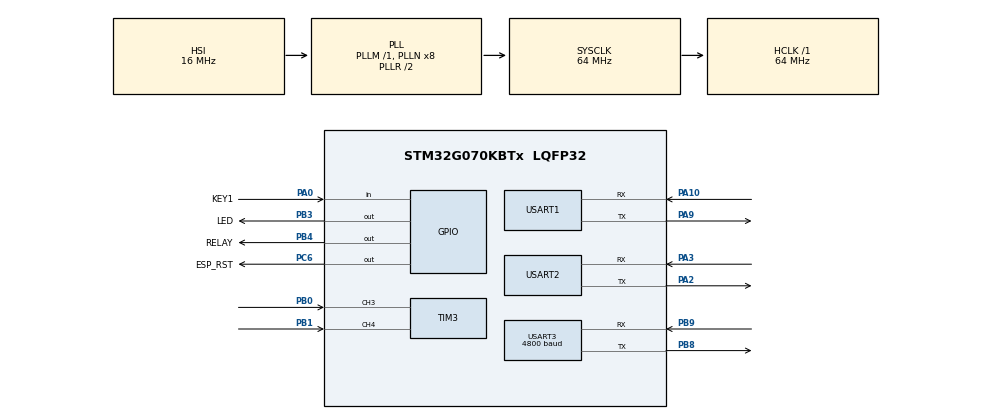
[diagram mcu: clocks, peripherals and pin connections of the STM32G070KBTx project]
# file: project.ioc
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Mcu.Family=STM32G0
Mcu.Name=STM32G070KBTx
Mcu.Package=LQFP32
NVIC.TIM7_IRQn=true\:0\:0\:false\:false\:true\:true\:true
NVIC.USART2_IRQn=true\:0\:0\:false\:false\:true\:true\:true
NVIC.USART3_4_IRQn=true\:0\:0\:false\:false\:true\:true\:true
PA0.GPIO_Label=KEY1
PA0.Signal=GPIO_Input
PA10.Mode=Asynchronous
PA10.Signal=USART1_RX
PA13.Mode=Serial_Wire
PA13.Signal=SYS_SWDIO
PA14-BOOT0.Mode=Serial_Wire
PA14-BOOT0.Signal=SYS_SWCLK
PA2.Mode=Asynchronous
PA2.Signal=USART2_TX
PA3.Mode=Asynchronous
PA3.Signal=USART2_RX
PA9.Mode=Asynchronous
PA9.Signal=USART1_TX
PB0.Signal=S_TIM3_CH3
PB1.Signal=S_TIM3_CH4
PB3.GPIO_Label=LED
PB3.Signal=GPIO_Output
PB4.GPIO_Label=RELAY
PB4.Signal=GPIO_Output
PB8.Mode=Asynchronous
PB8.Signal=USART3_TX
PB9.Mode=Asynchronous
PB9.Signal=USART3_RX
PC6.GPIO_Label=ESP_RST
PC6.Signal=GPIO_Output
ProjectManager.HeapSize=0x0
ProjectManager.StackSize=0x400
ProjectManager.TargetToolchain=MDK-ARM V5
RCC.ADCFreq_Value=64000000
RCC.AHBFreq_Value=64000000
RCC.CortexFreq_Value=64000000
RCC.EXTERNAL_CLOCK_VALUE=48000
RCC.HCLKFreq_Value=64000000
RCC.HSE_VALUE=8000000
RCC.HSI_VALUE=16000000
RCC.LSE_VALUE=32768
RCC.SYSCLKFreq_VALUE=64000000
RCC.SYSCLKSource=RCC_SYSCLKSOURCE_PLLCLK
RCC.VCOOutputFreq_Value=128000000
SH.S_TIM3_CH3.0=TIM3_CH3,Input_Capture3_from_TI3
SH.S_TIM3_CH4.0=TIM3_CH4,Input_Capture4_from_TI4
TIM3.Channel-Input_Capture3_from_TI3=TIM_CHANNEL_3
TIM3.Channel-Input_Capture4_from_TI4=TIM_CHANNEL_4
TIM7.AutoReloadPreload=TIM_AUTORELOAD_PRELOAD_ENABLE
TIM7.Period=2999
TIM7.Prescaler=63
USART1.VirtualMode-Asynchronous=VM_ASYNC
USART2.VirtualMode-Asynchronous=VM_ASYNC
USART3.BaudRate=4800
USART3.Parity=PARITY_EVEN
USART3.VirtualMode-Asynchronous=VM_ASYNC
VP_SYS_VS_DBSignals.Mode=DisableDeadBatterySignals
VP_TIM7_VS_ClockSourceINT.Mode=Enable_Timer
board=custom

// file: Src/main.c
/* USER CODE BEGIN Header */
/**
  ******************************************************************************
  * @file           : main.c
  * @brief          : Main program body
  ******************************************************************************
  * @attention
  *
  * <h2><center>&copy; Copyright (c) 2021 STMicroelectronics.
  * All rights reserved.</center></h2>
  *
  * This software component is licensed by ST under BSD 3-Clause license,
  * the "License"; You may not use this file except in compliance with the
  * License. You may obtain a copy of the License at:
  *                        opensource.org/licenses/BSD-3-Clause
  *
  ******************************************************************************
  */
/* USER CODE END Header */

#include "main.h"

/* USER CODE BEGIN Includes */
#include "stm32g0xx_ll_gpio.h"
#include "stm32g0xx_ll_usart.h"
#include "stm32g0xx_ll_tim.h"
#include "tos_k.h"
#include "user_task.h"
// #include "ws2812_driver.h"
// #include "user_utils.h"
// #include "hlw8032.h"
// #include "key.h"
/* USER CODE END Includes */

TIM_HandleTypeDef htim3;
TIM_HandleTypeDef htim7;

UART_HandleTypeDef huart1;
UART_HandleTypeDef huart2;
UART_HandleTypeDef huart3;

/* USER CODE BEGIN PV */
#define USER_TASK_STACK_SIZE 512
k_stack_t user_task_stack[USER_TASK_STACK_SIZE];
k_task_t user_task_t;
/* USER CODE END PV */

void SystemClock_Config(void);
static void MX_GPIO_Init(void);
static void MX_TIM3_Init(void);
static void MX_USART1_UART_Init(void);
static void MX_USART2_UART_Init(void);
static void MX_USART3_UART_Init(void);
static void MX_TIM7_Init(void);
/* USER CODE BEGIN PFP */
extern void data_template_sample(void);
/* USER CODE END PFP */

/* USER CODE BEGIN 0 */

// 重定向printf输出
int fputc(int ch, FILE *f)
{
	// stm32f1 系列
	// while((USART1->SR & 0x40) == 0);//等待上一次串口数据发送完成
	// USART1->DR = (unsigned char)ch;//写入要发送的数据
	// return ch;

	// stm32g0 系列
	while(LL_USART_IsActiveFlag_TXE_TXFNF(USART1) == 0); // 等待数据发送寄存器空
	LL_USART_TransmitData8(USART1, ch); // 写入要发送的数据
	// while(LL_USART_IsActiveFlag_TC(USART1) == 0); // 等待发送完成，严谨一点可以把这个加上
	return ch;
}

// int fputc(int ch, FILE *f)
// {
//   HAL_UART_Transmit(&huart1, (uint8_t *)&ch, 1, 10);
//   return ch;
// }

/* USER CODE END 0 */

int main(void)
{

  /* MCU Configuration--------------------------------------------------------*/

  /* Reset of all peripherals, Initializes the Flash interface and the Systick. */
  HAL_Init();

  /* Configure the system clock */
  SystemClock_Config();

  /* Initialize all configured peripherals */
  MX_GPIO_Init();
  MX_TIM3_Init();
  MX_USART1_UART_Init();
  MX_USART2_UART_Init();
  MX_USART3_UART_Init();
  MX_TIM7_Init();
  /* USER CODE BEGIN 2 */

	// 中断设置
	LL_USART_EnableIT_RXNE_RXFNE(USART2);
	HAL_NVIC_SetPriority(USART2_IRQn, 2, 0); // 只有主优先级，串口2优先级设置较低
	HAL_NVIC_EnableIRQ(USART2_IRQn);

	LL_USART_EnableIT_RXNE_RXFNE(USART3);
	HAL_NVIC_SetPriority(USART3_4_IRQn, 3, 0); // 只有主优先级，串口3优先级设置最低
	HAL_NVIC_EnableIRQ(USART3_4_IRQn);

	LL_TIM_EnableIT_UPDATE(TIM7); // 开启TIM7中断
	LL_TIM_EnableCounter(TIM7); // 启动定时器
	HAL_NVIC_SetPriority(TIM7_IRQn, 3, 0); // 只有主优先级，串口3优先级设置最低
	HAL_NVIC_EnableIRQ(TIM7_IRQn);
	// HAL_TIM_Base_Start_IT(&htim7);

	// 其他初始化
	// TODO

	// 初始化 Tencent OS Tiny，启动任务
	tos_knl_init();

	// 先起用户程序
	tos_task_create(&user_task_t,
					"user_task",
					(k_task_entry_t)user_task,
					NULL,
					3,
					user_task_stack,
					USER_TASK_STACK_SIZE,
					0);

	// 最后起数据模板
	data_template_sample();

	printf("tos start\r\n");
	tos_knl_start();

  /* USER CODE END 2 */

  /* Infinite loop */
  while (1)
  {

  }
}

void SystemClock_Config(void)
{
  RCC_OscInitTypeDef RCC_OscInitStruct = {0};
  RCC_ClkInitTypeDef RCC_ClkInitStruct = {0};
  RCC_PeriphCLKInitTypeDef PeriphClkInit = {0};

  /** Configure the main internal regulator output voltage
  */
  HAL_PWREx_ControlVoltageScaling(PWR_REGULATOR_VOLTAGE_SCALE1);
  /** Initializes the CPU, AHB and APB busses clocks
  */
  RCC_OscInitStruct.OscillatorType = RCC_OSCILLATORTYPE_HSI;
  RCC_OscInitStruct.HSIState = RCC_HSI_ON;
  RCC_OscInitStruct.HSIDiv = RCC_HSI_DIV1;
  RCC_OscInitStruct.HSICalibrationValue = RCC_HSICALIBRATION_DEFAULT;
  RCC_OscInitStruct.PLL.PLLState = RCC_PLL_ON;
  RCC_OscInitStruct.PLL.PLLSource = RCC_PLLSOURCE_HSI;
  RCC_OscInitStruct.PLL.PLLM = RCC_PLLM_DIV1;
  RCC_OscInitStruct.PLL.PLLN = 8;
  RCC_OscInitStruct.PLL.PLLP = RCC_PLLP_DIV2;
  RCC_OscInitStruct.PLL.PLLR = RCC_PLLR_DIV2;
  if (HAL_RCC_OscConfig(&RCC_OscInitStruct) != HAL_OK)
  {
    Error_Handler();
  }
  /** Initializes the CPU, AHB and APB busses clocks
  */
  RCC_ClkInitStruct.ClockType = RCC_CLOCKTYPE_HCLK|RCC_CLOCKTYPE_SYSCLK
                              |RCC_CLOCKTYPE_PCLK1;
  RCC_ClkInitStruct.SYSCLKSource = RCC_SYSCLKSOURCE_PLLCLK;
  RCC_ClkInitStruct.AHBCLKDivider = RCC_SYSCLK_DIV1;
  RCC_ClkInitStruct.APB1CLKDivider = RCC_HCLK_DIV1;

  if (HAL_RCC_ClockConfig(&RCC_ClkInitStruct, FLASH_LATENCY_2) != HAL_OK)
  {
    Error_Handler();
  }
  /** Initializes the peripherals clocks
  */
  PeriphClkInit.PeriphClockSelection = RCC_PERIPHCLK_USART1|RCC_PERIPHCLK_USART2;
  PeriphClkInit.Usart1ClockSelection = RCC_USART1CLKSOURCE_PCLK1;
  PeriphClkInit.Usart2ClockSelection = RCC_USART2CLKSOURCE_PCLK1;
  if (HAL_RCCEx_PeriphCLKConfig(&PeriphClkInit) != HAL_OK)
  {
    Error_Handler();
  }
}

static void MX_TIM3_Init(void)
{

  TIM_MasterConfigTypeDef sMasterConfig = {0};
  TIM_IC_InitTypeDef sConfigIC = {0};

  htim3.Instance = TIM3;
  htim3.Init.Prescaler = 0;
  htim3.Init.CounterMode = TIM_COUNTERMODE_UP;
  htim3.Init.Period = 0;
  htim3.Init.ClockDivision = TIM_CLOCKDIVISION_DIV1;
  htim3.Init.AutoReloadPreload = TIM_AUTORELOAD_PRELOAD_DISABLE;
  if (HAL_TIM_IC_Init(&htim3) != HAL_OK)
  {
    Error_Handler();
  }
  sMasterConfig.MasterOutputTrigger = TIM_TRGO_RESET;
  sMasterConfig.MasterSlaveMode = TIM_MASTERSLAVEMODE_DISABLE;
  if (HAL_TIMEx_MasterConfigSynchronization(&htim3, &sMasterConfig) != HAL_OK)
  {
    Error_Handler();
  }
  sConfigIC.ICPolarity = TIM_INPUTCHANNELPOLARITY_RISING;
  sConfigIC.ICSelection = TIM_ICSELECTION_DIRECTTI;
  sConfigIC.ICPrescaler = TIM_ICPSC_DIV1;
  sConfigIC.ICFilter = 0;
  if (HAL_TIM_IC_ConfigChannel(&htim3, &sConfigIC, TIM_CHANNEL_3) != HAL_OK)
  {
    Error_Handler();
  }
  if (HAL_TIM_IC_ConfigChannel(&htim3, &sConfigIC, TIM_CHANNEL_4) != HAL_OK)
  {
    Error_Handler();
  }

}

static void MX_TIM7_Init(void)
{

  TIM_MasterConfigTypeDef sMasterConfig = {0};

  htim7.Instance = TIM7;
  htim7.Init.Prescaler = 63;
  htim7.Init.CounterMode = TIM_COUNTERMODE_UP;
  htim7.Init.Period = 2999;
  htim7.Init.AutoReloadPreload = TIM_AUTORELOAD_PRELOAD_ENABLE;
  if (HAL_TIM_Base_Init(&htim7) != HAL_OK)
  {
    Error_Handler();
  }
  sMasterConfig.MasterOutputTrigger = TIM_TRGO_RESET;
  sMasterConfig.MasterSlaveMode = TIM_MASTERSLAVEMODE_DISABLE;
  if (HAL_TIMEx_MasterConfigSynchronization(&htim7, &sMasterConfig) != HAL_OK)
  {
    Error_Handler();
  }

}

static void MX_USART1_UART_Init(void)
{

  huart1.Instance = USART1;
  huart1.Init.BaudRate = 115200;
  huart1.Init.WordLength = UART_WORDLENGTH_8B;
  huart1.Init.StopBits = UART_STOPBITS_1;
  huart1.Init.Parity = UART_PARITY_NONE;
  huart1.Init.Mode = UART_MODE_TX_RX;
  huart1.Init.HwFlowCtl = UART_HWCONTROL_NONE;
  huart1.Init.OverSampling = UART_OVERSAMPLING_16;
  huart1.Init.OneBitSampling = UART_ONE_BIT_SAMPLE_DISABLE;
  huart1.Init.ClockPrescaler = UART_PRESCALER_DIV1;
  huart1.AdvancedInit.AdvFeatureInit = UART_ADVFEATURE_NO_INIT;
  if (HAL_UART_Init(&huart1) != HAL_OK)
  {
    Error_Handler();
  }
  if (HAL_UARTEx_SetTxFifoThreshold(&huart1, UART_TXFIFO_THRESHOLD_1_8) != HAL_OK)
  {
    Error_Handler();
  }
  if (HAL_UARTEx_SetRxFifoThreshold(&huart1, UART_RXFIFO_THRESHOLD_1_8) != HAL_OK)
  {
    Error_Handler();
  }
  if (HAL_UARTEx_DisableFifoMode(&huart1) != HAL_OK)
  {
    Error_Handler();
  }

}

static void MX_USART2_UART_Init(void)
{

  huart2.Instance = USART2;
  huart2.Init.BaudRate = 115200;
  huart2.Init.WordLength = UART_WORDLENGTH_8B;
  huart2.Init.StopBits = UART_STOPBITS_1;
  huart2.Init.Parity = UART_PARITY_NONE;
  huart2.Init.Mode = UART_MODE_TX_RX;
  huart2.Init.HwFlowCtl = UART_HWCONTROL_NONE;
  huart2.Init.OverSampling = UART_OVERSAMPLING_16;
  huart2.Init.OneBitSampling = UART_ONE_BIT_SAMPLE_DISABLE;
  huart2.Init.ClockPrescaler = UART_PRESCALER_DIV1;
  huart2.AdvancedInit.AdvFeatureInit = UART_ADVFEATURE_NO_INIT;
  if (HAL_UART_Init(&huart2) != HAL_OK)
  {
    Error_Handler();
  }
  if (HAL_UARTEx_SetTxFifoThreshold(&huart2, UART_TXFIFO_THRESHOLD_1_8) != HAL_OK)
  {
    Error_Handler();
  }
  if (HAL_UARTEx_SetRxFifoThreshold(&huart2, UART_RXFIFO_THRESHOLD_1_8) != HAL_OK)
  {
    Error_Handler();
  }
  if (HAL_UARTEx_DisableFifoMode(&huart2) != HAL_OK)
  {
    Error_Handler();
  }

}

static void MX_USART3_UART_Init(void)
{

  huart3.Instance = USART3;
  huart3.Init.BaudRate = 4800;
  huart3.Init.WordLength = UART_WORDLENGTH_8B;
  huart3.Init.StopBits = UART_STOPBITS_1;
  huart3.Init.Parity = UART_PARITY_EVEN;
  huart3.Init.Mode = UART_MODE_TX_RX;
  huart3.Init.HwFlowCtl = UART_HWCONTROL_NONE;
  huart3.Init.OverSampling = UART_OVERSAMPLING_16;
  huart3.Init.OneBitSampling = UART_ONE_BIT_SAMPLE_DISABLE;
  huart3.Init.ClockPrescaler = UART_PRESCALER_DIV1;
  huart3.AdvancedInit.AdvFeatureInit = UART_ADVFEATURE_NO_INIT;
  if (HAL_UART_Init(&huart3) != HAL_OK)
  {
    Error_Handler();
  }

}

static void MX_GPIO_Init(void)
{
  GPIO_InitTypeDef GPIO_InitStruct = {0};

  /* GPIO Ports Clock Enable */
  __HAL_RCC_GPIOB_CLK_ENABLE();
  __HAL_RCC_GPIOA_CLK_ENABLE();
  __HAL_RCC_GPIOC_CLK_ENABLE();

  /*Configure GPIO pin Output Level */
  HAL_GPIO_WritePin(ESP_RST_GPIO_Port, ESP_RST_Pin, GPIO_PIN_RESET);

  /*Configure GPIO pin Output Level */
  HAL_GPIO_WritePin(GPIOB, LED_Pin|RELAY_Pin, GPIO_PIN_RESET);

  /*Configure GPIO pin : KEY1_Pin */
  GPIO_InitStruct.Pin = KEY1_Pin;
  GPIO_InitStruct.Mode = GPIO_MODE_INPUT;
  GPIO_InitStruct.Pull = GPIO_NOPULL;
  HAL_GPIO_Init(KEY1_GPIO_Port, &GPIO_InitStruct);

  /*Configure GPIO pin : ESP_RST_Pin */
  GPIO_InitStruct.Pin = ESP_RST_Pin;
  GPIO_InitStruct.Mode = GPIO_MODE_OUTPUT_PP;
  GPIO_InitStruct.Pull = GPIO_NOPULL;
  GPIO_InitStruct.Speed = GPIO_SPEED_FREQ_LOW;
  HAL_GPIO_Init(ESP_RST_GPIO_Port, &GPIO_InitStruct);

  /*Configure GPIO pins : LED_Pin RELAY_Pin */
  GPIO_InitStruct.Pin = LED_Pin|RELAY_Pin;
  GPIO_InitStruct.Mode = GPIO_MODE_OUTPUT_PP;
  GPIO_InitStruct.Pull = GPIO_NOPULL;
  GPIO_InitStruct.Speed = GPIO_SPEED_FREQ_LOW;
  HAL_GPIO_Init(GPIOB, &GPIO_InitStruct);

}

void Error_Handler(void)
{
}

/************************ (C) COPYRIGHT STMicroelectronics *****END OF FILE****/
